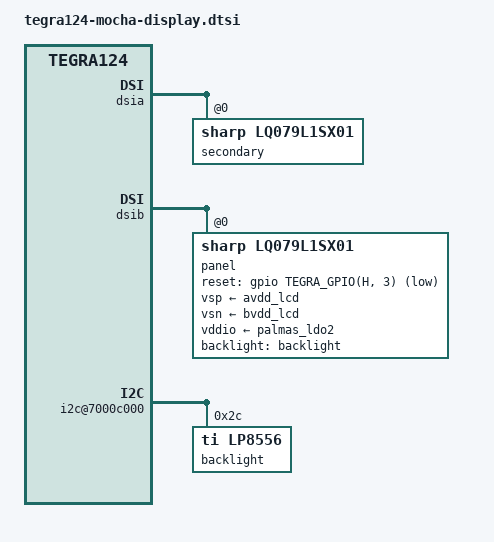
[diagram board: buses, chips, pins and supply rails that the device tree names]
/ {
	host1x@50000000 {
		status = "okay";
		
		dc@54200000 {
			status = "okay";
			dvdd_lcd-supply = <&palmas_ldo2>;
			avdd_lcd-supply = <&avdd_lcd>;
			bvdd_lcd-supply = <&bvdd_lcd>;
			avdd_dsi_csi-supply = <&ldo5_reg>;
			dvdd_lcdio-supply = <&palmas_ldo2>;
		};
		
		dsia: dsi@54300000 {
			status = "okay";
			avdd-dsi-csi-supply = <&ldo5_reg>;
			
			secondary: panel@0 {
				compatible = "sharp,lq079l1sx01";
				reg = <0>;
			};

		};
		
		dsib: dsi@54400000 {
			status = "okay";
			avdd-dsi-csi-supply = <&ldo5_reg>;
			nvidia,ganged-mode = <&dsia>;

			panel@0 {
				compatible = "sharp,lq079l1sx01";
				reg = <0>;
				link2 = <&secondary>;
				vsp-supply = <&avdd_lcd>;
				vsn-supply = <&bvdd_lcd>;
				vddio-supply = <&palmas_ldo2>;
				reset-gpios = <&gpio TEGRA_GPIO(H, 3) GPIO_ACTIVE_LOW>; /* PH3 */
				backlight = <&backlight>;
			};
		};
	};

	i2c@7000c000 {
		backlight: backlight@2c {
			compatible = "ti,lp8556";
			reg = <0x2c>;

			dev-ctrl = /bits/ 8 <0x83>;
			init-brt = /bits/ 8 <0x1f>;
			led-en   = /bits/ 8 <0x0f>;

			rom_98h {
				rom-addr = /bits/ 8 <0x98>;
				rom-val = /bits/ 8 <0x80>;
			};
			rom_9eh {
				rom-addr = /bits/ 8 <0x9e>;
				rom-val = /bits/ 8 <0x21>;
			};
			rom_a0h {
				rom-addr = /bits/ 8 <0xa0>;
				rom-val = /bits/ 8 <0xff>;
			};
			rom_a1h {
				rom-addr = /bits/ 8 <0xa1>;
				rom-val = /bits/ 8 <0x3f>;
			};
			rom_a2h {
				rom-addr = /bits/ 8 <0xa2>;
				rom-val = /bits/ 8 <0x20>;
			};
			rom_a3h {
				rom-addr = /bits/ 8 <0xa3>;
				rom-val = /bits/ 8 <0x00>;
			};
			rom_a4h {
				rom-addr = /bits/ 8 <0xa4>;
				rom-val = /bits/ 8 <0x72>;
			};
			rom_a5h {
				rom-addr = /bits/ 8 <0xa5>;
				rom-val = /bits/ 8 <0x24>;
			};
			rom_a6h {
				rom-addr = /bits/ 8 <0xa6>;
				rom-val = /bits/ 8 <0x80>;
			};
			rom_a7h {
				rom-addr = /bits/ 8 <0xa7>;
				rom-val = /bits/ 8 <0xf5>;
			};
			rom_a8h {
				rom-addr = /bits/ 8 <0xa8>;
				rom-val = /bits/ 8 <0x24>;
			};
			rom_a9h {
				rom-addr = /bits/ 8 <0xa9>;
				rom-val = /bits/ 8 <0xb2>;
			};
			rom_aah {
				rom-addr = /bits/ 8 <0xaa>;
				rom-val = /bits/ 8 <0x8f>;
			};
			rom_aeh {
				rom-addr = /bits/ 8 <0xae>;
				rom-val = /bits/ 8 <0x0f>;
			};
		};
	};
};
